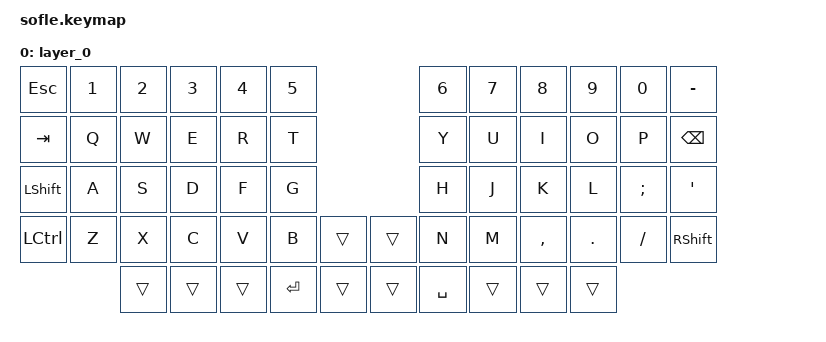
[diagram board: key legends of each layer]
#include <behaviors.dtsi>
#include <dt-bindings/zmk/keys.h>

/ {
    keymap {
        compatible = "zmk,keymap";

        layer_0 {
            bindings = <
&kp ESC    &kp N1  &kp N2  &kp N3  &kp N4  &kp N5                       &kp N6     &kp N7  &kp N8     &kp N9   &kp N0    &kp MINUS
&kp TAB    &kp Q   &kp W   &kp E   &kp R   &kp T                        &kp Y      &kp U   &kp I      &kp O    &kp P     &kp BSPC
&kp LSHFT  &kp A   &kp S   &kp D   &kp F   &kp G                        &kp H      &kp J   &kp K      &kp L    &kp SEMI  &kp SQT
&kp LCTRL  &kp Z   &kp X   &kp C   &kp V   &kp B      &trans    &trans  &kp N      &kp M   &kp COMMA  &kp DOT  &kp FSLH  &kp RSHFT
                   &trans  &trans  &trans  &kp ENTER  &trans    &trans  &kp SPACE  &trans  &trans     &trans
            >;
        };
    };
};
